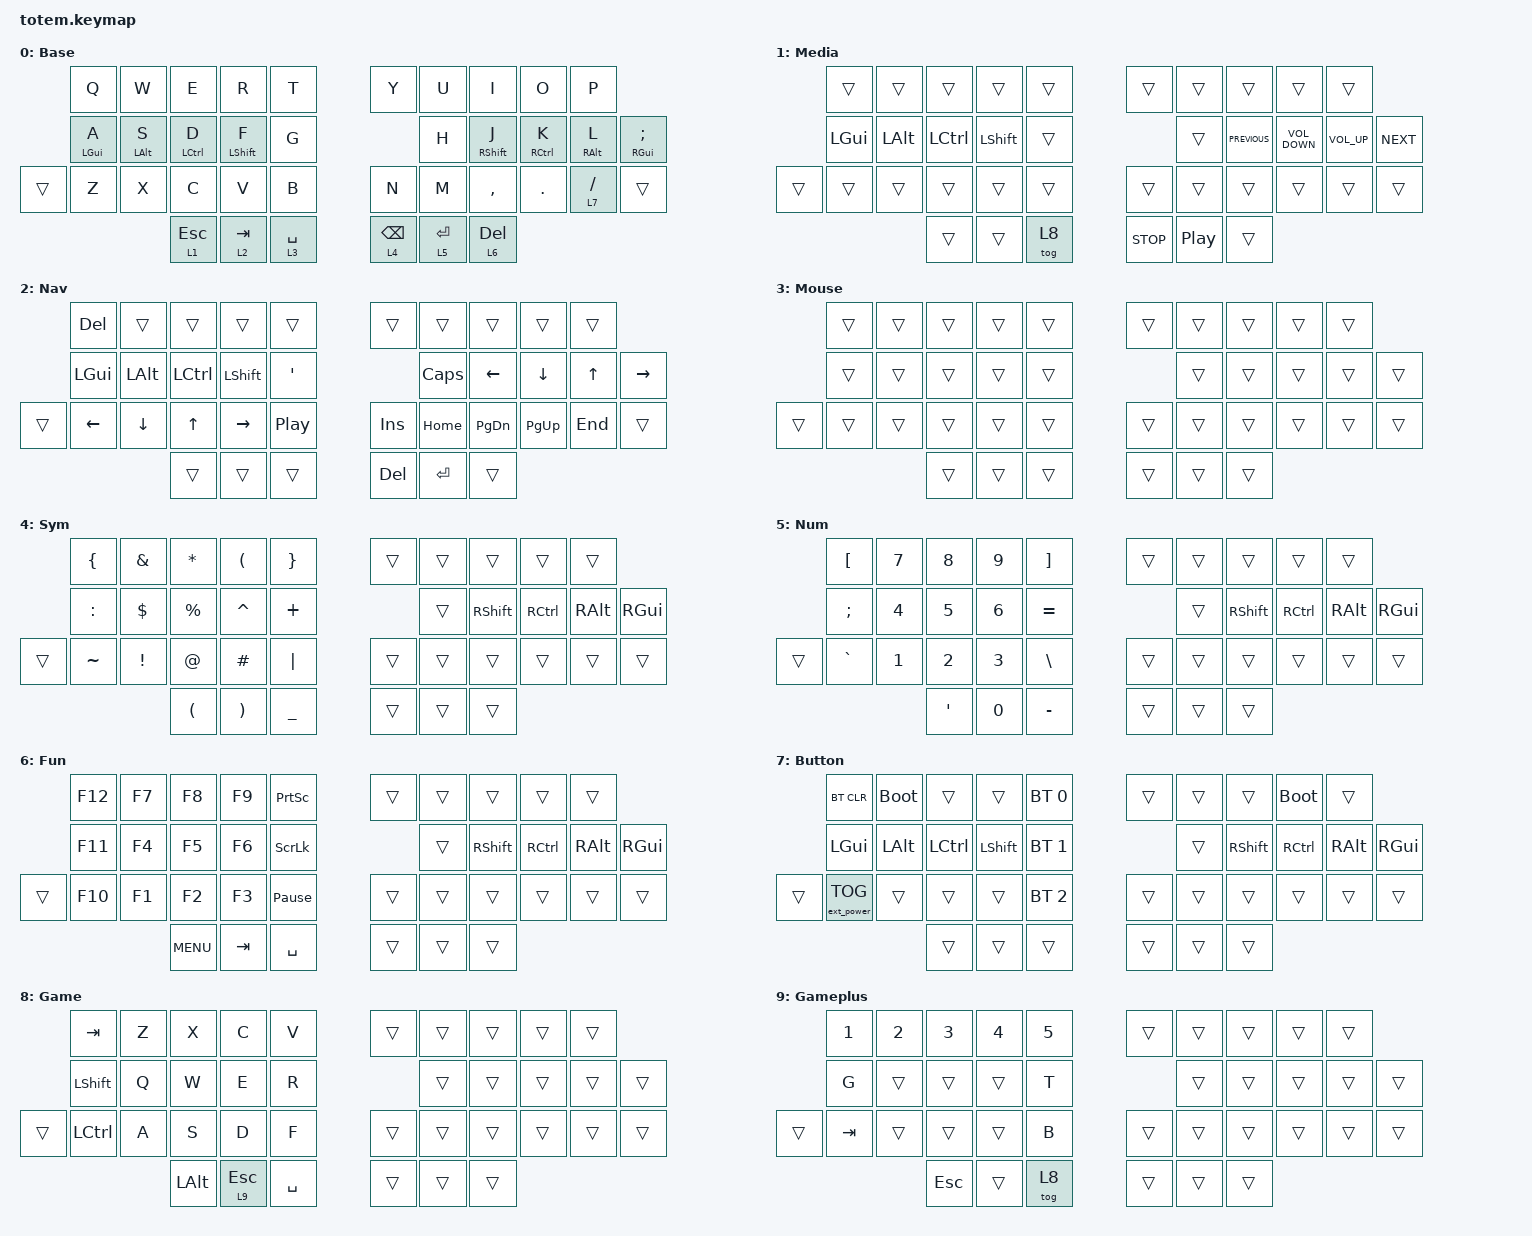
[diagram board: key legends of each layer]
//
//                                                        ▀▀▀▀▀     ▀▀▀▀▀          ▀▀█▀▀
//                                                        ▄▀▀▀▄  ▄  ▄▀▀▀▄  ▄  ▄▀▀▀▄  █  ▄▀▀▀▄
//                                                        █   █  █  █   █  █  █   █  █  █   █
//                                                         ▀▀▀   █   ▀▀▀   █   ▀▀▀   ▀   ▀▀▀
//                                                               █      ▄▄▄█▄▄▄    █   █  
//                                                               ▀      █  █  █     █▄█
//                                                             ▀▀▀▀▀    █  █  █      ▀
//                                                                      ▀  ▀  ▀
//
// ▄▄▄▄▄▄▄▄▄▄▄▄▄▄▄▄▄▄▄▄▄▄▄▄▄▄▄▄▄▄▄▄▄▄▄▄▄▄▄▄▄▄▄▄▄▄▄▄▄▄▄▄▄▄▄▄▄▄▄▄▄▄▄▄▄▄▄▄▄▄▄▄▄▄▄▄▄▄▄▄▄▄▄▄▄▄▄▄▄▄▄▄▄▄▄▄▄▄▄▄▄▄▄▄▄▄▄▄▄▄▄▄▄▄▄▄▄▄▄▄▄▄▄▄▄▄▄▄▄▄▄▄▄▄▄▄▄▄▄▄▄▄▄▄▄▄▄▄▄

#include <behaviors.dtsi>
#include <dt-bindings/zmk/keys.h>
#include <dt-bindings/zmk/bt.h>
#include <dt-bindings/zmk/outputs.h>
#include <dt-bindings/zmk/ext_power.h>

#define Base        0
#define Media       1
#define Nav         2
#define Mouse       3
#define Sym         4
#define Num         5
#define Fun         6
#define Button      7
#define Game        8
#define Gameplus    9

#define KEYS_L      0 1 2 3 4 10 11 12 13 14 20 21 22 23 24 25
#define KEYS_R      5 6 7 8 9 15 16 17 18 19 26 27 28 29 30 31
#define THUMBS      32 33 34 35 36 37

&mt {
    quick-tap-ms = <100>;
    global-quick-tap;
    flavor = "tap-preferred";
    tapping-term-ms = <170>;
};

&lt {
    tapping-term-ms = <240>;
    flavor = "balanced";
    quick-tap-ms = <150>;
};

/ {

    behaviors {
        hm_l: homerow_mods_left {
            compatible = "zmk,behavior-hold-tap";
            label = "HOMEROW_MODS_LEFT";
            #binding-cells = <2>;
            flavor = "balanced";
            tapping-term-ms = <280>;
            quick-tap-ms = <175>;
            require-prior-idle-ms = <130>;
            hold-trigger-key-positions = <KEYS_R THUMBS>;
            hold-trigger-on-release;
            bindings =
                <&kp>,
                <&kp>;
        };

        hm_r: homerow_mods_right {
            compatible = "zmk,behavior-hold-tap";
            label = "HOMEROW_MODS_RIGHT";
            #binding-cells = <2>;
            flavor = "balanced";
            tapping-term-ms = <280>;
            quick-tap-ms = <175>;
            require-prior-idle-ms = <130>;
            hold-trigger-key-positions = <KEYS_L THUMBS>;
            hold-trigger-on-release;
            bindings =
                <&kp>,
                <&kp>;
        };
    };

    keymap {
        compatible = "zmk,keymap";

    Base {
        label = "Base";
        bindings = <
                &kp Q       &kp W       &kp E         &kp R         &kp T                         &kp Y        &kp U         &kp I       &kp O               &kp P               
                &hm_l LGUI A  &hm_l LALT S  &hm_l LCTRL D   &hm_l LSHIFT F  &kp G                         &kp H  &hm_r RSHFT J   &hm_r RCTRL K  &hm_r RALT L  &hm_r RGUI SEMICOLON  
        &trans  &kp Z       &kp X       &kp C         &kp V         &kp B                         &kp N        &kp M     &kp COMMA     &kp DOT         &lt 7 SLASH  &trans
                                        &lt 1 ESCAPE  &lt 2 TAB     &lt 3 SPACE         &lt 4 BACKSPACE  &lt 5 ENTER  &lt 6 DELETE
        >;
    };

    Media {
        label = "Media";
        bindings = <
                &trans    &trans    &trans     &trans      &trans               &trans            &trans             &trans           &trans      &trans  
                &kp LGUI  &kp LALT  &kp LCTRL  &kp LSHIFT  &trans               &trans    &kp C_PREVIOUS  &kp C_VOLUME_DOWN  &kp C_VOLUME_UP  &kp C_NEXT  
        &trans  &trans    &trans    &trans     &trans      &trans               &trans            &trans             &trans           &trans      &trans  &trans
                                    &trans     &trans      &tog 8           &kp C_STOP  &kp C_PLAY_PAUSE             &trans  
        >;
    };

    Nav {
        label = "Nav";
        bindings = <
                &kp DELETE    &trans    &trans     &trans      &trans                       &trans     &trans         &trans       &trans       &trans  
                &kp LEFT_GUI  &kp LALT  &kp LCTRL  &kp LSHIFT  &kp SQT                    &kp CAPS   &kp LEFT       &kp DOWN       &kp UP    &kp RIGHT  
        &trans  &kp LEFT      &kp DOWN  &kp UP     &kp RIGHT   &kp C_PLAY_PAUSE         &kp INSERT   &kp HOME  &kp PAGE_DOWN  &kp PAGE_UP      &kp END  &trans
                                        &trans     &trans      &trans                   &kp DELETE  &kp ENTER         &trans
        >;
    };

    Mouse {
        label = "Mouse";
        bindings = <
                &trans  &trans  &trans  &trans  &trans          &trans  &trans  &trans  &trans  &trans  
                &trans  &trans  &trans  &trans  &trans          &trans  &trans  &trans  &trans  &trans  
        &trans  &trans  &trans  &trans  &trans  &trans          &trans  &trans  &trans  &trans  &trans  &trans
                                &trans  &trans  &trans          &trans  &trans  &trans
        >;
    };

    Sym {
        label = "Sym";
        bindings = <
                &kp LEFT_BRACE  &kp AMPERSAND  &kp ASTERISK         &kp LEFT_PARENTHESIS   &kp RIGHT_BRACE       &trans      &trans     &trans    &trans    &trans  
                &kp COLON       &kp DOLLAR     &kp PERCENT          &kp CARET              &kp PLUS              &trans  &kp RSHIFT  &kp RCTRL  &kp RALT  &kp RGUI  
        &trans  &kp TILDE       &kp EXCL       &kp AT               &kp HASH               &kp PIPE              &trans      &trans     &trans    &trans    &trans  &trans
                                              &kp LEFT_PARENTHESIS  &kp RIGHT_PARENTHESIS  &kp UNDERSCORE        &trans      &trans     &trans   
        >;
    };

    Num {
        label = "Num";
        bindings = <
                &kp LEFT_BRACKET  &kp NUMBER_7  &kp NUMBER_8  &kp NUMBER_9  &kp RIGHT_BRACKET       &trans      &trans     &trans    &trans    &trans  
                &kp SEMICOLON     &kp NUMBER_4  &kp NUMBER_5  &kp NUMBER_6  &kp EQUAL               &trans  &kp RSHIFT  &kp RCTRL  &kp RALT  &kp RGUI  
        &trans  &kp GRAVE         &kp NUMBER_1  &kp NUMBER_2  &kp NUMBER_3  &kp BACKSLASH           &trans      &trans     &trans    &trans    &trans  &trans
                                                &kp SQT       &kp NUMBER_0  &kp MINUS               &trans      &trans     &trans
        >;
    };

    Fun {
        label = "Fun";
        bindings = <
                &kp F12     &kp F7   &kp F8      &kp F9   &kp PRINTSCREEN          &trans      &trans     &trans    &trans    &trans  
                &kp F11     &kp F4   &kp F5      &kp F6   &kp SCROLLLOCK           &trans  &kp RSHIFT  &kp RCTRL  &kp RALT  &kp RGUI  
        &trans  &kp F10     &kp F1   &kp F2      &kp F3   &kp PAUSE_BREAK          &trans      &trans     &trans    &trans    &trans  &trans
                                     &kp C_MENU  &kp TAB  &kp SPACE                &trans      &trans     &trans
        >;
    };

    Button {
        label = "Button";
        bindings = <
                &bt BT_CLR         &bootloader  &trans     &trans      &bt BT_SEL 0         &trans      &trans     &trans  &bootloader    &trans  
                &kp LGUI           &kp LALT     &kp LCTRL  &kp LSHIFT  &bt BT_SEL 1         &trans  &kp RSHIFT  &kp RCTRL     &kp RALT  &kp RGUI  
        &trans  &ext_power EP_TOG  &trans       &trans     &trans      &bt BT_SEL 2         &trans      &trans     &trans       &trans    &trans  &trans
                                                &trans     &trans      &trans               &trans      &trans     &trans
        >;
    };

    Game {
        label = "Game";
        bindings = <
                &kp TAB         &kp Z  &kp X       &kp C         &kp V            &trans  &trans  &trans  &trans  &trans  
                &kp LEFT_SHIFT  &kp Q  &kp W       &kp E         &kp R            &trans  &trans  &trans  &trans  &trans  
        &trans  &kp LCTRL       &kp A  &kp S       &kp D         &kp F            &trans  &trans  &trans  &trans  &trans  &trans
                                       &kp LALT    &lt 9 ESCAPE  &kp SPACE        &trans  &trans  &trans
        >;
    };

    Gameplus {
        label = "Gameplus";
        bindings = <
                &kp NUMBER_1  &kp NUMBER_2  &kp NUMBER_3  &kp NUMBER_4  &kp NUMBER_5        &trans  &trans  &trans  &trans  &trans  
                &kp G         &trans        &trans        &trans        &kp T               &trans  &trans  &trans  &trans  &trans  
        &trans  &kp TAB       &trans        &trans        &trans        &kp B               &trans  &trans  &trans  &trans  &trans  &trans
                                            &kp ESCAPE    &trans        &tog 8              &trans  &trans  &trans
        >;
    };
  };
};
